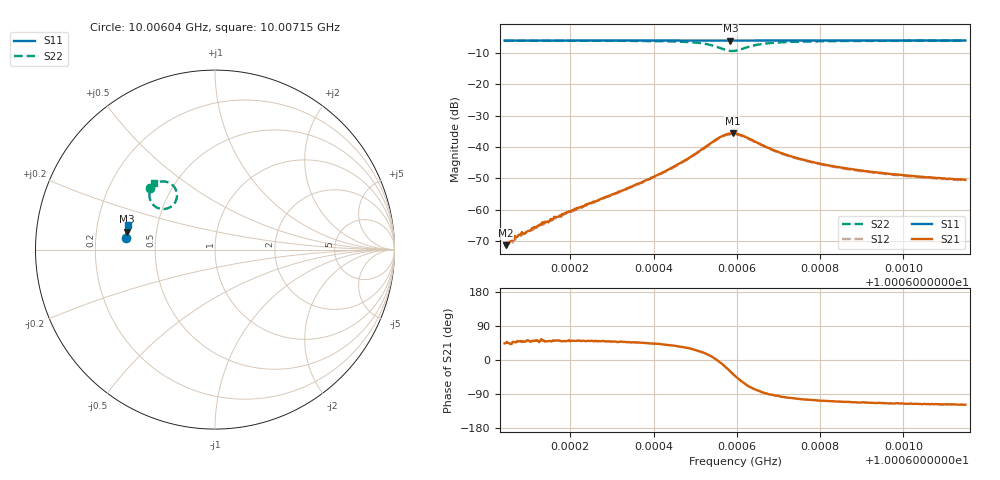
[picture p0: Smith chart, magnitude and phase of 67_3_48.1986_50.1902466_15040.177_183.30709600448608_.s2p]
#  HZ  S  RI  R  50.00
! Rohde & Schwarz Vector Network Analyzer
! Rohde-Schwarz,ZNB20-2Port,1311601062101988,3.16
! Created: UTC 3/20/2024, 11:39:01 AM
! freq[Hz]  re:S11  im:S11  re:S21  im:S21  re:S12  im:S12  re:S22  im:S22
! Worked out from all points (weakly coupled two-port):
!   401 points, 10.00604 GHz to 10.00715 GHz, reference 50 ohm
!   highest |S21| = -35.65 dB at 10.00659 GHz (marker M1); lowest = -71.4 dB at 10.00605 GHz (marker M2)
!   lowest |S11| = -6.0 dB at 10.00658 GHz (marker M3), VSWR 3.01, Z = 16.8 + j4.46 ohm
!   |S11| at or under -10 dB: nowhere
!   |S22| runs from -9.3 to -6.0 dB; largest |S21 - S12| = 0.0011
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1.0006042e10  -0.4974 0.0651  0.000209 0.0002  0.000175 0.000209  -0.3644 0.3408
1.0006045e10  -0.4974 0.0652  0.000192 0.000189  0.000168 0.0002  -0.3641 0.3409
1.0006059e10  -0.4973 0.0662  0.000238 0.000217  0.000189 0.000238  -0.3632 0.3419
1.0006081e10  -0.4972 0.0677  0.000261 0.000312  0.000226 0.000308  -0.3618 0.3436
1.0006095e10  -0.4971 0.0686  0.000277 0.000342  0.000282 0.00034  -0.3608 0.3444
1.0006109e10  -0.4969 0.0695  0.00032 0.000396  0.000279 0.000379  -0.3598 0.3454
1.0006134e10  -0.4968 0.0711  0.0004 0.000489  0.000333 0.000466  -0.358 0.3473
1.0006228e10  -0.496 0.0771  0.0007 0.000845  0.000644 0.000852  -0.3501 0.3548
1.0006413e10  -0.4943 0.0894  0.00272 0.00246  0.00254 0.00254  -0.3193 0.3743
1.000648e10  -0.4933 0.0937  0.00537 0.0034  0.00511 0.00356  -0.289 0.3798
1.0006524e10  -0.4926 0.0966  0.00947 0.00302  0.00909 0.00334  -0.2494 0.3689
1.0006563e10  -0.4913 0.0987  0.0145 -0.00211  0.0142 -0.00147  -0.2121 0.3109
1.0006585e10  -0.4909 0.0995  0.0141 -0.00838  0.0143 -0.00733  -0.2281 0.2551
1.000659e10  -0.4911 0.0997  0.0133 -0.00976  0.0135 -0.00874  -0.2389 0.2438
1.0006596e10  -0.4909 0.0999  0.0122 -0.011  0.0126 -0.01  -0.2517 0.2352
1.0006618e10  -0.4914 0.1009  0.00709 -0.013  0.0075 -0.0124  -0.3043 0.2272
1.0006657e10  -0.4915 0.1034  0.0014 -0.0111  0.00189 -0.0109  -0.3529 0.2604
1.0006712e10  -0.4912 0.1072  -0.00102 -0.00774  -0.000634 -0.00762  -0.3656 0.2996
1.0006781e10  -0.4904 0.1116  -0.00154 -0.00558  -0.00127 -0.00552  -0.3625 0.325
1.0006859e10  -0.4895 0.1168  -0.00159 -0.00433  -0.00137 -0.00429  -0.3565 0.3404
1.0006966e10  -0.488 0.1238  -0.00154 -0.00341  -0.00136 -0.00339  -0.3486 0.3537
1.0007149e10  -0.4853 0.1352  -0.0014 -0.00264  -0.00125 -0.00263  -0.3372 0.3686
